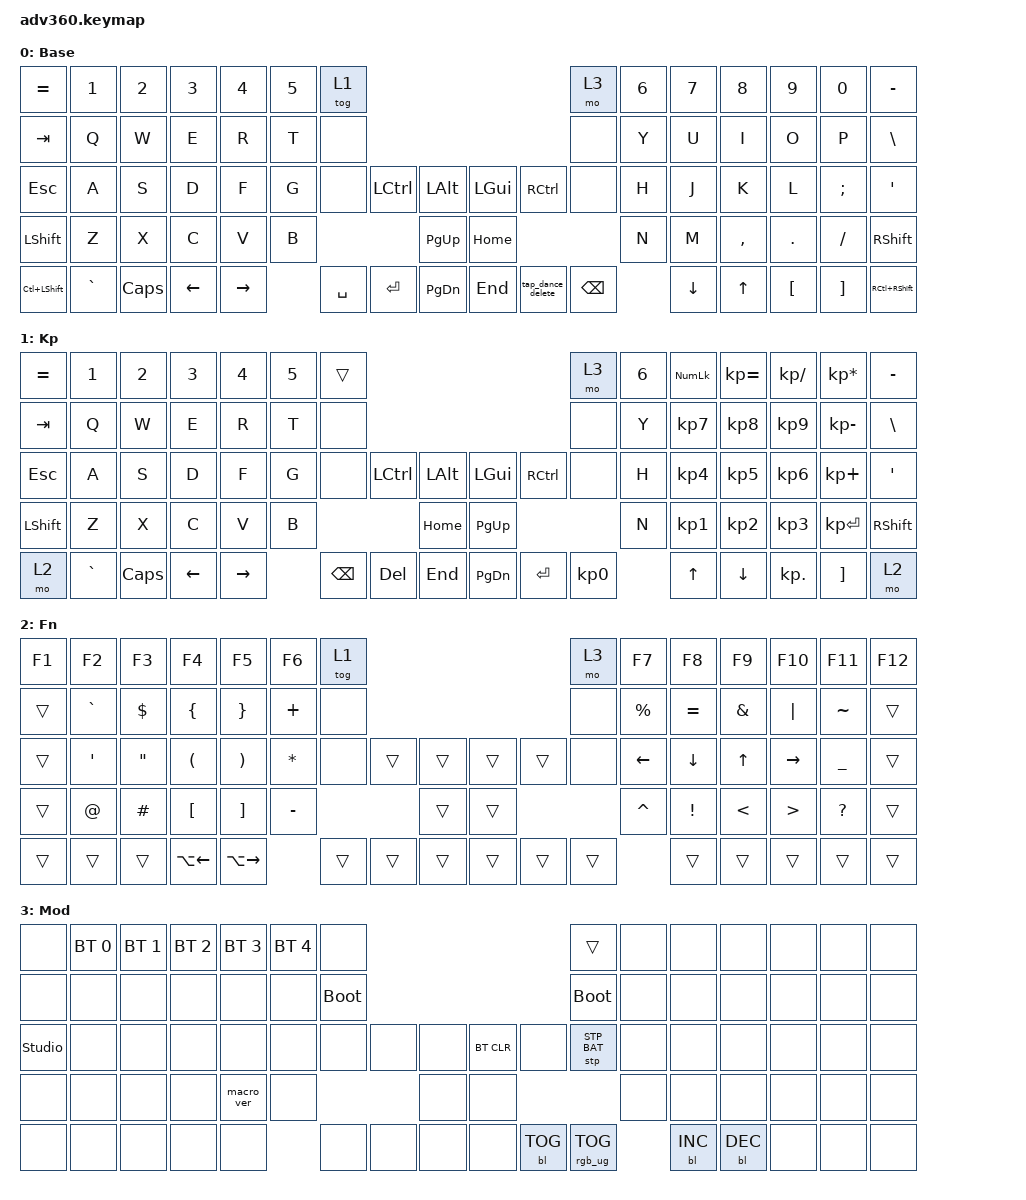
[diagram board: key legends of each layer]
#include <dt-bindings/zmk/stp.h>
#include <behaviors.dtsi>
#include <dt-bindings/zmk/backlight.h>
#include <dt-bindings/zmk/bt.h>
#include <dt-bindings/zmk/keys.h>
#include <dt-bindings/zmk/rgb.h>

/ {
    behaviors {
        #include "macros.dtsi"
        #include "version.dtsi"

        hm: homerow_mods {
            compatible = "zmk,behavior-hold-tap";
            label = "HOMEROW_MODS";
            #binding-cells = <2>;
            tapping-term-ms = <200>;
            quick_tap_ms = <175>;
            flavor = "tap-preferred";
            bindings = <&kp>, <&kp>;
        };
        
        tap_dance_lshift: td_lshift {
            compatible = "zmk,behavior-tap-dance";
            label = "TD_LSHIFT";
            #binding-cells = <0>;
            tapping-term-ms = <200>;
            bindings = <&kp LEFT_SHIFT>, <&kp CAPS>;
        };

        tap_dance_rshift: td_rshift {
            compatible = "zmk,behavior-tap-dance";
            label = "TD_RSHIFT";
            #binding-cells = <0>;
            tapping-term-ms = <200>;
            bindings = <&kp RIGHT_SHIFT>, <&kp CAPS>;
        };
        
        tap_dance_delete: td_delete {
            compatible = "zmk,behavior-tap-dance";
            label = "TD_DELETE";
            #binding-cells = <0>;
            tapping-term-ms = <200>;
            bindings = <&mo 2>, <&kp DELETE>;
        };
    };

    keymap {
        compatible = "zmk,keymap";

        default_layer {
            display-name = "Base";
            bindings = <
&kp EQUAL           &kp N1     &kp N2    &kp N3    &kp N4     &kp N5  &tog 1                                                                &mo 3          &kp N6  &kp N7          &kp N8     &kp N9    &kp N0    &kp MINUS
&kp TAB             &kp Q      &kp W     &kp E     &kp R      &kp T   &none                                                                 &none          &kp Y   &kp U           &kp I      &kp O     &kp P     &kp BSLH
&kp ESC             &kp A      &kp S     &kp D     &kp F      &kp G   &none      &kp LCTRL  &kp LALT           &kp LGUI  &kp RCTRL          &none          &kp H   &kp J           &kp K      &kp L     &kp SEMI  &kp SQT
&kp LSHFT           &kp Z      &kp X     &kp C     &kp V      &kp B                         &kp PAGE_UP        &kp HOME                                    &kp N   &kp M           &kp COMMA  &kp DOT   &kp FSLH  &kp RSHFT
&kp LC(LEFT_SHIFT)  &kp GRAVE  &kp CAPS  &kp LEFT  &kp RIGHT          &kp SPACE  &kp ENTER  &kp PAGE_DOWN      &kp END   &tap_dance_delete  &kp BACKSPACE          &kp DOWN_ARROW  &kp UP     &kp LBKT  &kp RBKT  &kp RC(RIGHT_SHIFT)
            >;
        };

        keypad {
            display-name = "Kp";
            bindings = <
&kp EQUAL  &kp N1     &kp N2    &kp N3    &kp N4     &kp N5  &trans                                                   &mo 3      &kp N6  &kp KP_NUM  &kp KP_EQUAL  &kp KP_DIVIDE  &kp KP_MULTIPLY  &kp MINUS
&kp TAB    &kp Q      &kp W     &kp E     &kp R      &kp T   &none                                                    &none      &kp Y   &kp KP_N7   &kp KP_N8     &kp KP_N9      &kp KP_MINUS     &kp BSLH
&kp ESC    &kp A      &kp S     &kp D     &kp F      &kp G   &none     &kp LCTRL  &kp LALT      &kp LGUI   &kp RCTRL  &none      &kp H   &kp KP_N4   &kp KP_N5     &kp KP_N6      &kp KP_PLUS      &kp SQT
&kp LSHFT  &kp Z      &kp X     &kp C     &kp V      &kp B                        &kp HOME      &kp PG_UP                        &kp N   &kp KP_N1   &kp KP_N2     &kp KP_N3      &kp KP_ENTER     &kp RSHFT
&mo 2      &kp GRAVE  &kp CAPS  &kp LEFT  &kp RIGHT          &kp BSPC  &kp DEL    &kp END       &kp PG_DN  &kp ENTER  &kp KP_N0          &kp UP      &kp DOWN      &kp KP_DOT     &kp RBKT         &mo 2
            >;
        };

        fn {
            display-name = "Fn";
            bindings = <
&kp F1  &kp F2     &kp F3             &kp F4                &kp F5                 &kp F6     &tog 1                                      &mo 3   &kp F7          &kp F8           &kp F9         &kp F10           &kp F11         &kp F12
&trans  &kp GRAVE  &kp DOLLAR         &kp LEFT_BRACE        &kp RIGHT_BRACE        &kp PLUS   &none                                       &none   &kp PERCENT     &kp EQUAL        &kp AMPERSAND  &kp PIPE          &kp TILDE       &trans
&trans  &kp APOS   &kp DOUBLE_QUOTES  &kp LEFT_PARENTHESIS  &kp RIGHT_PARENTHESIS  &kp STAR   &none   &trans  &trans      &trans  &trans  &none   &kp LEFT_ARROW  &kp DOWN_ARROW   &kp UP_ARROW   &kp RIGHT_ARROW   &kp UNDERSCORE  &trans
&trans  &kp AT     &kp POUND          &kp LEFT_BRACKET      &kp RIGHT_BRACKET      &kp MINUS                  &trans      &trans                  &kp CARET       &kp EXCLAMATION  &kp LESS_THAN  &kp GREATER_THAN  &kp QUESTION    &trans
&trans  &trans     &trans             &kp LA(LEFT_ARROW)    &kp LA(RIGHT)                     &trans  &trans  &trans      &trans  &trans  &trans                  &trans           &trans         &trans            &trans          &trans
            >;
        };

        mod {
            display-name = "Mod";
            bindings = <
&none           &bt BT_SEL 0  &bt BT_SEL 1  &bt BT_SEL 2  &bt BT_SEL 3  &bt BT_SEL 4  &none                                                  &trans           &none  &none       &none       &none  &none  &none
&none           &none         &none         &none         &none         &none         &bootloader                                            &bootloader      &none  &none       &none       &none  &none  &none
&studio_unlock  &none         &none         &none         &none         &none         &none        &none  &none      &bt BT_CLR  &none       &stp STP_BAT     &none  &none       &none       &none  &none  &none
&none           &none         &none         &none         &macro_ver    &none                             &none      &none                                    &none  &none       &none       &none  &none  &none
&none           &none         &none         &none         &none                       &none        &none  &none      &none       &bl BL_TOG  &rgb_ug RGB_TOG         &bl BL_INC  &bl BL_DEC  &none  &none  &none
            >;
        };

        extra1 {
            display-name = "Red";
            status = "reserved";
        };

        extra2 {
            display-name = "Purple";
            status = "reserved";
        };

        extra3 {
            display-name = "Cyan";
            status = "reserved";
        };

        extra4 {
            display-name = "Yellow";
            status = "reserved";
        };
    };
};
